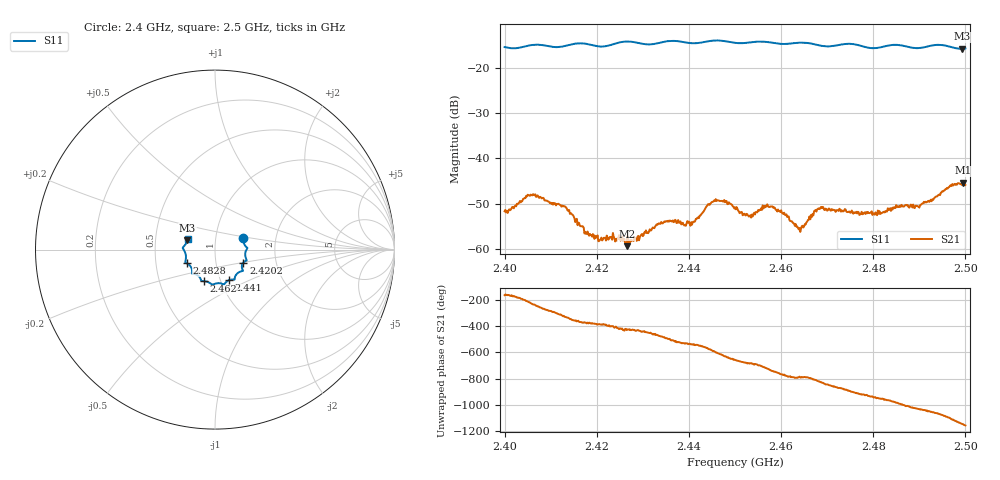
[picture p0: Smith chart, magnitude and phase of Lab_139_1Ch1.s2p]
# Hz S RI R 50
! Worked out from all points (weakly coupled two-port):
!   601 points, 2.4 GHz to 2.5 GHz, reference 50 ohm
!   highest |S21| = -45.39 dB at 2.4995 GHz (marker M1); lowest = -59.4 dB at 2.4265 GHz (marker M2)
!   lowest |S11| = -15.8 dB at 2.4993 GHz (marker M3), VSWR 1.39, Z = 36.5 + j3.9 ohm
!   |S11| at or under -10 dB: start of sweep to end of sweep
!   S12 and S22 are empty: the file has one direction only
!   S11 on the Smith chart (normalised r, x): 2.4 GHz: 1.36, +0.17; 2.4202 GHz: 1.36, -0.20; 2.441 GHz: 1.10, -0.39; 2.462 GHz: 0.84, -0.30; 2.4828 GHz: 0.72, -0.11; 2.5 GHz: 0.73, +0.09
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2.4e9  0.1582 0.062  -0.00249 -0.000754  0 0  0 0
2.406167e9  0.1792 0.0109  -0.00237 0.00324  0 0  0 0
2.413e9  0.1698 -0.0399  0.00249 0.00159  0 0  0 0
2.416667e9  0.1769 -0.0605  0.00176 -0.000272  0 0  0 0
2.420167e9  0.1581 -0.0721  0.00129 -0.000578  0 0  0 0
2.4265e9  0.1561 -0.1182  0.000368 -0.00101  0 0  0 0
2.433333e9  0.1117 -0.151  -0.000667 -0.00177  0 0  0 0
2.441e9  0.0781 -0.1701  -0.002 7.23e-05  0 0  0 0
2.445333e9  0.0515 -0.1937  -0.00218 0.00253  0 0  0 0
2.45e9  0.0277 -0.1874  0.00134 0.00254  0 0  0 0
2.453333e9  -0.00319 -0.1916  0.00187 0.00143  0 0  0 0
2.4575e9  -0.0228 -0.1902  0.00282 -0.000666  0 0  0 0
2.462e9  -0.0608 -0.1756  0.000934 -0.00181  0 0  0 0
2.464333e9  -0.0745 -0.175  0.00051 -0.00159  0 0  0 0
2.466667e9  -0.0788 -0.1677  0.000377 -0.00221  0 0  0 0
2.468667e9  -0.0858 -0.1534  -0.000865 -0.00277  0 0  0 0
2.482833e9  -0.1573 -0.0768  -0.00119 0.00229  0 0  0 0
2.483333e9  -0.1602 -0.0753  -0.0011 0.00245  0 0  0 0
2.4895e9  -0.1625 -0.0297  0.00191 0.0023  0 0  0 0
2.499333e9  -0.1541 0.052  0.00193 -0.0047  0 0  0 0
2.4995e9  -0.1537 0.0543  0.00196 -0.00501  0 0  0 0
2.5e9  -0.1526 0.0614  0.00104 -0.00498  0 0  0 0
